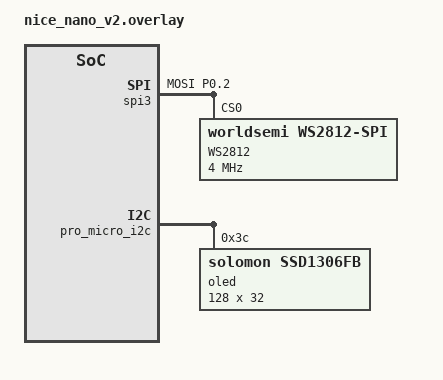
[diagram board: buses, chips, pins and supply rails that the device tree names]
#include <dt-bindings/led/led.h>

&pinctrl {
	spi3_default: spi3default {
		group1 {
			psels = <NRF_PSEL(SPIM_MOSI, 0, 2)>;
		};
	};

	spi3_sleep: spi3_sleep {
		group1 {
			psels = <NRF_PSEL(SPIM_MOSI, 0, 2)>;
			low-power-enable;
		};
	};
};

&spi3 {
	compatible = "nordic,nrf-spim";
	status = "okay";

	pinctrl-0 = <&spi3_default>;
	pinctrl-1 = <&spi3_sleep>;
	pinctrl-names = "default", "sleep";

	led_strip: ws2812@0 {
		compatible = "worldsemi,ws2812-spi";
		label = "WS2812";

		/* SPI */
		reg = <0>; /* ignored, but necessary for SPI bindings */
		spi-max-frequency = <4000000>;

		/* WS2812 */
		chain-length = <12>; /* arbitrary; change at will */
		spi-one-frame = <0x70>;
		spi-zero-frame = <0x40>;

		color-mapping = <LED_COLOR_ID_GREEN LED_COLOR_ID_RED LED_COLOR_ID_BLUE>;
	};
};

/ {
	chosen {
        zephyr,display = &oled;
		zmk,underglow = &led_strip;
	};
	behaviors {
		 soft_off: soft_off {
            compatible = "zmk,behavior-soft-off";
            #binding-cells = <0>;
            status = "okay";
        };
    };

    wakeup_source: wakeup_source {
        compatible = "zmk,gpio-key-wakeup-trigger";
        status = "okay";

        trigger = <&button0>;
        wakeup-source;
    };

    soft_off_wakers {
        compatible = "zmk,soft-off-wakeup-sources";
        status = "okay";

        wakeup-sources = <&wakeup_source>;
    };

    soft_off_direct_kscan: soft_off_direct_kscan {
        compatible = "zmk,kscan-gpio-direct";
        input-keys = <&button0>;
    };

    soft_off_sideband_behaviors {
        compatible = "zmk,kscan-sideband-behaviors";
        kscan = <&soft_off_direct_kscan>;
        soft_off {
            row = <0>;
            column = <0>;
            bindings = <&soft_off>;
        };
    };
	}
};

&pro_micro_i2c {
    status = "okay";

    oled: ssd1306@3c {
        compatible = "solomon,ssd1306fb";
        reg = <0x3c>;
        width = <128>;
        height = <32>;
        segment-offset = <0>;
        page-offset = <0>;
        display-offset = <0>;
        multiplex-ratio = <31>;
        segment-remap;
        com-invdir;
        com-sequential;
        prechargep = <0x22>;
    };
};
